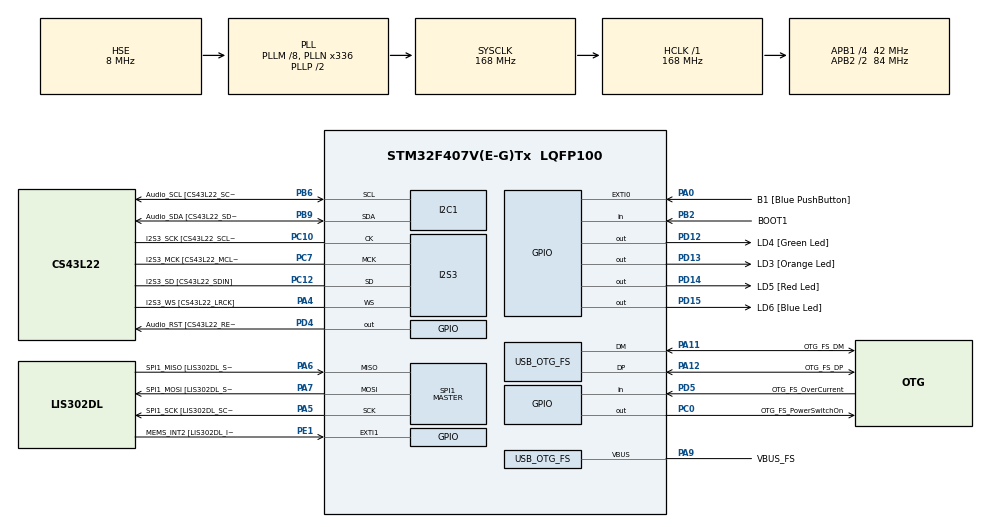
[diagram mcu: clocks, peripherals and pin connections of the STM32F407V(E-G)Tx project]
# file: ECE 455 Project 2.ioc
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FREERTOS.Mutexes01=active_queue_mutex,Dynamic,NULL;completed_queue_mutex,Dynamic,NULL;overdue_queue_mutex,Dynamic,NULL;dds_task_queue_mutex,Dynamic,NULL;make_active_queue_mutex,Dynamic,NULL;make_completed_queue_mutex,Dynamic,NULL;make_overdue_queue_mutex,Dynamic,NULL;task_duration_queue_mutex,Dynamic,NULL;task_1_time_queue_mutex,Dynamic,NULL;task_2_time_queue_mutex,Dynamic,NULL;task_3_time_queue_mutex,Dynamic,NULL
FREERTOS.Queues01=active_queue,16,uint32_t,0,Dynamic,NULL,NULL;completed_queue,16,uint32_t,0,Dynamic,NULL,NULL;dds_task_queue,16,uint32_t,0,Dynamic,NULL,NULL;overdue_queue,16,uint32_t,0,Dynamic,NULL,NULL;make_active_queue,16,uint32_t,0,Dynamic,NULL,NULL;make_completed_queue,16,uint32_t,0,Dynamic,NULL,NULL;make_overdue_queue,16,uint32_t,0,Dynamic,NULL,NULL;task_duration_queue,16,uint32_t,0,Dynamic,NULL,NULL;task_1_time_queue,16,uint32_t,0,Dynamic,NULL,NULL;task_2_time_queue,16,uint32_t,0,Dynamic,NULL,NULL;task_3_time_queue,16,uint32_t,0,Dynamic,NULL,NULL
FREERTOS.Tasks01=defaultTask,-3,128,StartDefaultTask,Default,NULL,Dynamic,NULL,NULL;deadline_driven,0,128,DeadlineDrivenScheduler,Default,NULL,Dynamic,NULL,NULL;task_generator,1,128,TaskGenerator,Default,NULL,Dynamic,NULL,NULL;monitor,0,128,Monitor,Default,NULL,Dynamic,NULL,NULL;red_light_task,2,128,RedLightTask,Default,NULL,Dynamic,NULL,NULL;amber_light_tas,2,128,AmberLightTask,Default,NULL,Dynamic,NULL,NULL;green_light_tas,2,128,GreenLightTask,Default,NULL,Dynamic,NULL,NULL
FREERTOS.Timers01=dds_control_timer,dds_control_callback,osTimerPeriodic,Default,NULL,Dynamic,NULL
FREERTOS.configCHECK_FOR_STACK_OVERFLOW=2
FREERTOS.configTIMER_QUEUE_LENGTH=255
FREERTOS.configTIMER_TASK_PRIORITY=4
FREERTOS.configTOTAL_HEAP_SIZE=65536
FREERTOS.configUSE_TIMERS=1
I2S3.AudioFreq-Half_Duplex_Master=I2S_AUDIOFREQ_96K
I2S3.ErrorAudioFreq=-2.34 %
I2S3.ErrorAudioFreq-Half_Duplex_Master=0.8 %
I2S3.FullDuplexMode=I2S_FULLDUPLEXMODE_DISABLE
I2S3.Instance=SPI$Index
I2S3.RealAudioFreq=93.75 KHz
I2S3.RealAudioFreq-Half_Duplex_Master=96.774 KHz
I2S3.VirtualMode=I2S_MODE_MASTER
Mcu.Family=STM32F4
Mcu.Name=STM32F407V(E-G)Tx
Mcu.Package=LQFP100
NVIC.OTG_FS_IRQn=true\:5\:0\:false\:false\:true\:true\:true\:true\:true
NVIC.PriorityGroup=NVIC_PRIORITYGROUP_4
NVIC.TIM4_IRQn=true\:15\:0\:false\:false\:true\:false\:false\:true\:true
NVIC.TimeBase=TIM4_IRQn
NVIC.TimeBaseIP=TIM4
PA0-WKUP.GPIO_Label=B1 [Blue PushButton]
PA0-WKUP.GPIO_ModeDefaultEXTI=GPIO_MODE_EVT_RISING
PA0-WKUP.GPIO_PuPd=GPIO_NOPULL
PA0-WKUP.Signal=GPXTI0
PA10.GPIO_Label=OTG_FS_ID
PA10.GPIO_Mode=GPIO_MODE_AF_PP
PA10.GPIO_PuPd=GPIO_NOPULL
PA10.GPIO_Speed=GPIO_SPEED_FREQ_LOW
PA10.Signal=USB_OTG_FS_ID
PA11.GPIO_Label=OTG_FS_DM
PA11.GPIO_Mode=GPIO_MODE_AF_PP
PA11.GPIO_PuPd=GPIO_NOPULL
PA11.GPIO_Speed=GPIO_SPEED_FREQ_LOW
PA11.Mode=Host_Only
PA11.Signal=USB_OTG_FS_DM
PA12.GPIO_Label=OTG_FS_DP
PA12.GPIO_Mode=GPIO_MODE_AF_PP
PA12.GPIO_PuPd=GPIO_NOPULL
PA12.GPIO_Speed=GPIO_SPEED_FREQ_LOW
PA12.Mode=Host_Only
PA12.Signal=USB_OTG_FS_DP
PA13.GPIO_Label=SWDIO
PA13.Mode=Serial_Wire
PA13.Signal=SYS_JTMS-SWDIO
PA14.GPIO_Label=SWCLK
PA14.Mode=Serial_Wire
PA14.Signal=SYS_JTCK-SWCLK
PA4.GPIO_Label=I2S3_WS [CS43L22_LRCK]
PA4.GPIO_Mode=GPIO_MODE_AF_PP
PA4.GPIO_PuPd=GPIO_NOPULL
PA4.GPIO_Speed=GPIO_SPEED_FREQ_LOW
PA4.Mode=Half_Duplex_Master
PA4.Signal=I2S3_WS
PA5.GPIO_Label=SPI1_SCK [LIS302DL_SCL/SPC]
PA5.GPIO_Mode=GPIO_MODE_AF_PP
PA5.GPIO_PuPd=GPIO_NOPULL
PA5.GPIO_Speed=GPIO_SPEED_FREQ_LOW
PA5.Mode=Full_Duplex_Master
PA5.Signal=SPI1_SCK
PA6.GPIO_Label=SPI1_MISO [LIS302DL_SDO]
PA6.GPIO_Mode=GPIO_MODE_AF_PP
PA6.GPIO_PuPd=GPIO_NOPULL
PA6.GPIO_Speed=GPIO_SPEED_FREQ_LOW
PA6.Mode=Full_Duplex_Master
PA6.Signal=SPI1_MISO
PA7.GPIO_Label=SPI1_MOSI [LIS302DL_SDA/SDI/SDO]
PA7.GPIO_Mode=GPIO_MODE_AF_PP
PA7.GPIO_PuPd=GPIO_NOPULL
PA7.GPIO_Speed=GPIO_SPEED_FREQ_LOW
PA7.Mode=Full_Duplex_Master
PA7.Signal=SPI1_MOSI
PA9.GPIO_Label=VBUS_FS
PA9.GPIO_Mode=GPIO_MODE_INPUT
PA9.GPIO_PuPd=GPIO_NOPULL
PA9.Mode=Activate_VBUS
PA9.Signal=USB_OTG_FS_VBUS
PB10.GPIO_Label=CLK_IN [MP45DT02_CLK]
PB10.GPIO_Mode=GPIO_MODE_AF_PP
PB10.GPIO_PuPd=GPIO_NOPULL
PB10.GPIO_Speed=GPIO_SPEED_FREQ_LOW
PB10.Signal=I2S2_CK
PB2.GPIO_Label=BOOT1
PB2.GPIO_Mode=GPIO_MODE_INPUT
PB2.GPIO_PuPd=GPIO_NOPULL
PB2.Signal=GPIO_Input
PB3.GPIO_Label=SWO
PB3.Signal=SYS_JTDO-SWO
PB6.GPIO_Label=Audio_SCL [CS43L22_SCL]
PB6.GPIO_Mode=GPIO_MODE_AF_OD
PB6.GPIO_Pu=GPIO_PULLUP
PB6.GPIO_PuPd=GPIO_NOPULL
PB6.GPIO_Speed=GPIO_SPEED_FREQ_LOW
PB6.Mode=I2C
PB6.Signal=I2C1_SCL
PB9.GPIO_Label=Audio_SDA [CS43L22_SDA]
PB9.GPIO_Mode=GPIO_MODE_AF_OD
PB9.GPIO_Pu=GPIO_PULLUP
PB9.GPIO_PuPd=GPIO_NOPULL
PB9.GPIO_Speed=GPIO_SPEED_FREQ_LOW
PB9.Mode=I2C
PB9.Signal=I2C1_SDA
PC0.GPIO_Label=OTG_FS_PowerSwitchOn
PC0.GPIO_PuPd=GPIO_NOPULL
PC0.GPIO_Speed=GPIO_SPEED_FREQ_LOW
PC0.PinState=GPIO_PIN_SET
PC0.Signal=GPIO_Output
PC10.GPIO_Label=I2S3_SCK [CS43L22_SCLK]
PC10.GPIO_Mode=GPIO_MODE_AF_PP
PC10.GPIO_PuPd=GPIO_NOPULL
PC10.GPIO_Speed=GPIO_SPEED_FREQ_LOW
PC10.Mode=Half_Duplex_Master
PC10.Signal=I2S3_CK
PC12.GPIO_Label=I2S3_SD [CS43L22_SDIN]
PC12.GPIO_Mode=GPIO_MODE_AF_PP
PC12.GPIO_PuPd=GPIO_NOPULL
PC12.GPIO_Speed=GPIO_SPEED_FREQ_LOW
PC12.Mode=Half_Duplex_Master
PC12.Signal=I2S3_SD
PC14-OSC32_IN.GPIO_Label=PC14-OSC32_IN
PC14-OSC32_IN.Mode=LSE-External-Oscillator
PC14-OSC32_IN.Signal=RCC_OSC32_IN
PC15-OSC32_OUT.GPIO_Label=PC15-OSC32_OUT
PC15-OSC32_OUT.Mode=LSE-External-Oscillator
PC15-OSC32_OUT.Signal=RCC_OSC32_OUT
PC3.GPIO_Label=PDM_OUT [MP45DT02_DOUT]
PC3.GPIO_Mode=GPIO_MODE_AF_PP
PC3.GPIO_PuPd=GPIO_NOPULL
PC3.GPIO_Speed=GPIO_SPEED_FREQ_LOW
PC3.Signal=I2S2_SD
PC7.GPIO_Label=I2S3_MCK [CS43L22_MCLK]
PC7.GPIO_Mode=GPIO_MODE_AF_PP
PC7.GPIO_PuPd=GPIO_NOPULL
PC7.GPIO_Speed=GPIO_SPEED_FREQ_LOW
PC7.Mode=Master_Clock_Activated
PC7.Signal=I2S3_MCK
PD12.GPIO_Label=LD4 [Green Led]
PD12.GPIO_PuPd=GPIO_NOPULL
PD12.GPIO_Speed=GPIO_SPEED_FREQ_LOW
PD12.Signal=GPIO_Output
PD13.GPIO_Label=LD3 [Orange Led]
PD13.GPIO_PuPd=GPIO_NOPULL
PD13.GPIO_Speed=GPIO_SPEED_FREQ_LOW
PD13.Signal=GPIO_Output
PD14.GPIO_Label=LD5 [Red Led]
PD14.GPIO_PuPd=GPIO_NOPULL
PD14.GPIO_Speed=GPIO_SPEED_FREQ_LOW
PD14.Signal=GPIO_Output
PD15.GPIO_Label=LD6 [Blue Led]
PD15.GPIO_PuPd=GPIO_NOPULL
PD15.GPIO_Speed=GPIO_SPEED_FREQ_LOW
PD15.Signal=GPIO_Output
PD4.GPIO_Label=Audio_RST [CS43L22_RESET]
PD4.GPIO_PuPd=GPIO_NOPULL
PD4.GPIO_Speed=GPIO_SPEED_FREQ_LOW
PD4.Signal=GPIO_Output
PD5.GPIO_Label=OTG_FS_OverCurrent
PD5.GPIO_Mode=GPIO_MODE_INPUT
PD5.GPIO_PuPd=GPIO_NOPULL
PD5.Signal=GPIO_Input
PE1.GPIO_Label=MEMS_INT2 [LIS302DL_INT2]
PE1.GPIO_ModeDefaultEXTI=GPIO_MODE_EVT_RISING
PE1.GPIO_PuPd=GPIO_NOPULL
PE1.Signal=GPXTI1
PH0-OSC_IN.GPIO_Label=PH0-OSC_IN
PH0-OSC_IN.Mode=HSE-External-Oscillator
PH0-OSC_IN.Signal=RCC_OSC_IN
PH1-OSC_OUT.GPIO_Label=PH1-OSC_OUT
PH1-OSC_OUT.Mode=HSE-External-Oscillator
PH1-OSC_OUT.Signal=RCC_OSC_OUT
ProjectManager.HeapSize=0x200
ProjectManager.StackSize=0x400
ProjectManager.TargetToolchain=STM32CubeIDE
RCC.48MHZClocksFreq_Value=48000000
RCC.AHBFreq_Value=168000000
RCC.APB1CLKDivider=RCC_HCLK_DIV4
RCC.APB1Freq_Value=42000000
RCC.APB1TimFreq_Value=84000000
RCC.APB2CLKDivider=RCC_HCLK_DIV2
RCC.APB2Freq_Value=84000000
RCC.APB2TimFreq_Value=168000000
RCC.CortexFreq_Value=168000000
RCC.HCLKFreq_Value=168000000
RCC.HSE_VALUE=8000000
RCC.HSI_VALUE=16000000
RCC.PLLM=8
RCC.PLLN=336
RCC.PLLQ=7
RCC.SYSCLKFreq_VALUE=168000000
RCC.SYSCLKSource=RCC_SYSCLKSOURCE_PLLCLK
RCC.VCOOutputFreq_Value=336000000
SPI1.BaudRatePrescaler-Full_Duplex_Master=SPI_BAUDRATEPRESCALER_2
SPI1.CalculateBaudRate-Full_Duplex_Master=42.0 MBits/s
SPI1.Direction=SPI_DIRECTION_2LINES
SPI1.Mode=SPI_MODE_MASTER
SPI1.Mode-Full_Duplex_Master=SPI_MODE_MASTER
SPI1.VirtualType=VM_MASTER
USB_OTG_FS.VirtualMode=Host_Only
USB_OTG_FS.phy_itface=HCD_PHY_EMBEDDED
VP_FREERTOS_VS_CMSIS_V1.Mode=CMSIS_V1
VP_SYS_VS_tim4.Mode=TIM4
board=STM32F407G-DISC1

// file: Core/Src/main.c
/* USER CODE BEGIN Header */
/**
  ******************************************************************************
  * @file           : main.c
  * @brief          : Main program body
  ******************************************************************************
  * @attention
  *
  * Copyright (c) 2024 STMicroelectronics.
  * All rights reserved.
  *
  * This software is licensed under terms that can be found in the LICENSE file
  * in the root directory of this software component.
  * If no LICENSE file comes with this software, it is provided AS-IS.
  *
  ******************************************************************************
  */
/* USER CODE END Header */
#include "main.h"
#include "cmsis_os.h"

/* USER CODE BEGIN Includes */
#include <stdio.h>
#include <stdlib.h>
/* USER CODE END Includes */

I2C_HandleTypeDef hi2c1;

I2S_HandleTypeDef hi2s3;

SPI_HandleTypeDef hspi1;

HCD_HandleTypeDef hhcd_USB_OTG_FS;

osThreadId defaultTaskHandle;
osThreadId deadline_drivenHandle;
osThreadId task_generatorHandle;
osThreadId monitorHandle;
osThreadId red_light_taskHandle;
osThreadId amber_light_tasHandle;
osThreadId green_light_tasHandle;
osMessageQId active_queueHandle;
osMessageQId completed_queueHandle;
osMessageQId dds_task_queueHandle;
osMessageQId overdue_queueHandle;
osMessageQId make_active_queueHandle;
osMessageQId make_completed_queueHandle;
osMessageQId make_overdue_queueHandle;
osMessageQId task_duration_queueHandle;
osMessageQId task_1_time_queueHandle;
osMessageQId task_2_time_queueHandle;
osMessageQId task_3_time_queueHandle;
osTimerId dds_control_timerHandle;
osMutexId active_queue_mutexHandle;
osMutexId completed_queue_mutexHandle;
osMutexId overdue_queue_mutexHandle;
osMutexId dds_task_queue_mutexHandle;
osMutexId make_active_queue_mutexHandle;
osMutexId make_completed_queue_mutexHandle;
osMutexId make_overdue_queue_mutexHandle;
osMutexId task_duration_queue_mutexHandle;
osMutexId task_1_time_queue_mutexHandle;
osMutexId task_2_time_queue_mutexHandle;
osMutexId task_3_time_queue_mutexHandle;
/* USER CODE BEGIN PV */
osTimerId task_1_timerHandle;
osTimerId task_2_timerHandle;
osTimerId task_3_timerHandle;
/* USER CODE END PV */

void SystemClock_Config(void);
static void MX_GPIO_Init(void);
static void MX_I2C1_Init(void);
static void MX_I2S3_Init(void);
static void MX_SPI1_Init(void);
static void MX_USB_OTG_FS_HCD_Init(void);
void StartDefaultTask(void const * argument);
void DeadlineDrivenScheduler(void const * argument);
void TaskGenerator(void const * argument);
void Monitor(void const * argument);
void RedLightTask(void const * argument);
void AmberLightTask(void const * argument);
void GreenLightTask(void const * argument);
void dds_control_callback(void const * argument);

/* USER CODE BEGIN PFP */
void task_1_timer_callback(void const * argument);
void task_2_timer_callback(void const * argument);
void task_3_timer_callback(void const * argument);
/* USER CODE END PFP */

/* USER CODE BEGIN 0 */
typedef enum task_type {PERIODIC, APERIODIC} TASK_TYPE;

typedef struct dd_task {
     osThreadId t_handle;
     TASK_TYPE type;
     uint32_t task_id;
     uint32_t release_time;
     uint32_t absolute_deadline;
     uint32_t completion_time;
     uint32_t execution_time;
} DD_TASK;

typedef struct dd_task_list {
    DD_TASK task;
    struct dd_task_list* next;
} DD_TASK_LIST;

typedef struct time_struct{
	uint32_t period;
	uint32_t execution_time;
}time_struct;
/* USER CODE END 0 */

int main(void)
{

  /* MCU Configuration--------------------------------------------------------*/

  /* Reset of all peripherals, Initializes the Flash interface and the Systick. */
  HAL_Init();

  /* Configure the system clock */
  SystemClock_Config();

  /* Initialize all configured peripherals */
  MX_GPIO_Init();
  MX_I2C1_Init();
  MX_I2S3_Init();
  MX_SPI1_Init();
  MX_USB_OTG_FS_HCD_Init();

  /* Create the mutex(es) */
  /* definition and creation of active_queue_mutex */
  osMutexDef(active_queue_mutex);
  active_queue_mutexHandle = osMutexCreate(osMutex(active_queue_mutex));

  /* definition and creation of completed_queue_mutex */
  osMutexDef(completed_queue_mutex);
  completed_queue_mutexHandle = osMutexCreate(osMutex(completed_queue_mutex));

  /* definition and creation of overdue_queue_mutex */
  osMutexDef(overdue_queue_mutex);
  overdue_queue_mutexHandle = osMutexCreate(osMutex(overdue_queue_mutex));

  /* definition and creation of dds_task_queue_mutex */
  osMutexDef(dds_task_queue_mutex);
  dds_task_queue_mutexHandle = osMutexCreate(osMutex(dds_task_queue_mutex));

  /* definition and creation of make_active_queue_mutex */
  osMutexDef(make_active_queue_mutex);
  make_active_queue_mutexHandle = osMutexCreate(osMutex(make_active_queue_mutex));

  /* definition and creation of make_completed_queue_mutex */
  osMutexDef(make_completed_queue_mutex);
  make_completed_queue_mutexHandle = osMutexCreate(osMutex(make_completed_queue_mutex));

  /* definition and creation of make_overdue_queue_mutex */
  osMutexDef(make_overdue_queue_mutex);
  make_overdue_queue_mutexHandle = osMutexCreate(osMutex(make_overdue_queue_mutex));

  /* definition and creation of task_duration_queue_mutex */
  osMutexDef(task_duration_queue_mutex);
  task_duration_queue_mutexHandle = osMutexCreate(osMutex(task_duration_queue_mutex));

  /* definition and creation of task_1_time_queue_mutex */
  osMutexDef(task_1_time_queue_mutex);
  task_1_time_queue_mutexHandle = osMutexCreate(osMutex(task_1_time_queue_mutex));

  /* definition and creation of task_2_time_queue_mutex */
  osMutexDef(task_2_time_queue_mutex);
  task_2_time_queue_mutexHandle = osMutexCreate(osMutex(task_2_time_queue_mutex));

  /* definition and creation of task_3_time_queue_mutex */
  osMutexDef(task_3_time_queue_mutex);
  task_3_time_queue_mutexHandle = osMutexCreate(osMutex(task_3_time_queue_mutex));

  /* Create the timer(s) */
  /* definition and creation of dds_control_timer */
  osTimerDef(dds_control_timer, dds_control_callback);
  dds_control_timerHandle = osTimerCreate(osTimer(dds_control_timer), osTimerPeriodic, NULL);

  /* Create the queue(s) */
  /* definition and creation of active_queue */
  osMessageQDef(active_queue, 16, uint32_t);
  active_queueHandle = osMessageCreate(osMessageQ(active_queue), NULL);

  /* definition and creation of completed_queue */
  osMessageQDef(completed_queue, 16, uint32_t);
  completed_queueHandle = osMessageCreate(osMessageQ(completed_queue), NULL);

  /* definition and creation of dds_task_queue */
  osMessageQDef(dds_task_queue, 16, uint32_t);
  dds_task_queueHandle = osMessageCreate(osMessageQ(dds_task_queue), NULL);

  /* definition and creation of overdue_queue */
  osMessageQDef(overdue_queue, 16, uint32_t);
  overdue_queueHandle = osMessageCreate(osMessageQ(overdue_queue), NULL);

  /* definition and creation of make_active_queue */
  osMessageQDef(make_active_queue, 16, uint32_t);
  make_active_queueHandle = osMessageCreate(osMessageQ(make_active_queue), NULL);

  /* definition and creation of make_completed_queue */
  osMessageQDef(make_completed_queue, 16, uint32_t);
  make_completed_queueHandle = osMessageCreate(osMessageQ(make_completed_queue), NULL);

  /* definition and creation of make_overdue_queue */
  osMessageQDef(make_overdue_queue, 16, uint32_t);
  make_overdue_queueHandle = osMessageCreate(osMessageQ(make_overdue_queue), NULL);

  /* definition and creation of task_duration_queue */
  osMessageQDef(task_duration_queue, 16, uint32_t);
  task_duration_queueHandle = osMessageCreate(osMessageQ(task_duration_queue), NULL);

  /* definition and creation of task_1_time_queue */
  osMessageQDef(task_1_time_queue, 16, uint32_t);
  task_1_time_queueHandle = osMessageCreate(osMessageQ(task_1_time_queue), NULL);

  /* definition and creation of task_2_time_queue */
  osMessageQDef(task_2_time_queue, 16, uint32_t);
  task_2_time_queueHandle = osMessageCreate(osMessageQ(task_2_time_queue), NULL);

  /* definition and creation of task_3_time_queue */
  osMessageQDef(task_3_time_queue, 16, uint32_t);
  task_3_time_queueHandle = osMessageCreate(osMessageQ(task_3_time_queue), NULL);

  /* Create the thread(s) */
  /* definition and creation of defaultTask */
  osThreadDef(defaultTask, StartDefaultTask, osPriorityIdle, 0, 128);
  defaultTaskHandle = osThreadCreate(osThread(defaultTask), NULL);

  /* definition and creation of deadline_driven */
  osThreadDef(deadline_driven, DeadlineDrivenScheduler, osPriorityNormal, 0, 128);
  deadline_drivenHandle = osThreadCreate(osThread(deadline_driven), NULL);

  /* definition and creation of task_generator */
  osThreadDef(task_generator, TaskGenerator, osPriorityAboveNormal, 0, 128);
  task_generatorHandle = osThreadCreate(osThread(task_generator), NULL);

  /* definition and creation of monitor */
  osThreadDef(monitor, Monitor, osPriorityNormal, 0, 128);
  monitorHandle = osThreadCreate(osThread(monitor), NULL);

  /* definition and creation of red_light_task */
  osThreadDef(red_light_task, RedLightTask, osPriorityHigh, 0, 128);
  red_light_taskHandle = osThreadCreate(osThread(red_light_task), NULL);

  /* definition and creation of amber_light_tas */
  osThreadDef(amber_light_tas, AmberLightTask, osPriorityHigh, 0, 128);
  amber_light_tasHandle = osThreadCreate(osThread(amber_light_tas), NULL);

  /* definition and creation of green_light_tas */
  osThreadDef(green_light_tas, GreenLightTask, osPriorityHigh, 0, 128);
  green_light_tasHandle = osThreadCreate(osThread(green_light_tas), NULL);

  /* USER CODE BEGIN RTOS_THREADS */
  /* add threads, ... */
  // We don't actually want the light tasks to run immediately, so end the threads.
  //osThreadTerminate(red_light_taskHandle);
  //osThreadTerminate(amber_light_tasHandle);
  //osThreadTerminate(green_light_tasHandle);

  /* USER CODE END RTOS_THREADS */

  /* Start scheduler */
  osKernelStart();

  /* We should never get here as control is now taken by the scheduler */
  /* Infinite loop */
  while (1)
  {

  }
}

void SystemClock_Config(void)
{
  RCC_OscInitTypeDef RCC_OscInitStruct = {0};
  RCC_ClkInitTypeDef RCC_ClkInitStruct = {0};

  /** Configure the main internal regulator output voltage
  */
  __HAL_RCC_PWR_CLK_ENABLE();
  __HAL_PWR_VOLTAGESCALING_CONFIG(PWR_REGULATOR_VOLTAGE_SCALE1);

  /** Initializes the RCC Oscillators according to the specified parameters
  * in the RCC_OscInitTypeDef structure.
  */
  RCC_OscInitStruct.OscillatorType = RCC_OSCILLATORTYPE_HSE;
  RCC_OscInitStruct.HSEState = RCC_HSE_ON;
  RCC_OscInitStruct.PLL.PLLState = RCC_PLL_ON;
  RCC_OscInitStruct.PLL.PLLSource = RCC_PLLSOURCE_HSE;
  RCC_OscInitStruct.PLL.PLLM = 8;
  RCC_OscInitStruct.PLL.PLLN = 336;
  RCC_OscInitStruct.PLL.PLLP = RCC_PLLP_DIV2;
  RCC_OscInitStruct.PLL.PLLQ = 7;
  if (HAL_RCC_OscConfig(&RCC_OscInitStruct) != HAL_OK)
  {
    Error_Handler();
  }

  /** Initializes the CPU, AHB and APB buses clocks
  */
  RCC_ClkInitStruct.ClockType = RCC_CLOCKTYPE_HCLK|RCC_CLOCKTYPE_SYSCLK
                              |RCC_CLOCKTYPE_PCLK1|RCC_CLOCKTYPE_PCLK2;
  RCC_ClkInitStruct.SYSCLKSource = RCC_SYSCLKSOURCE_PLLCLK;
  RCC_ClkInitStruct.AHBCLKDivider = RCC_SYSCLK_DIV1;
  RCC_ClkInitStruct.APB1CLKDivider = RCC_HCLK_DIV4;
  RCC_ClkInitStruct.APB2CLKDivider = RCC_HCLK_DIV2;

  if (HAL_RCC_ClockConfig(&RCC_ClkInitStruct, FLASH_LATENCY_5) != HAL_OK)
  {
    Error_Handler();
  }
}

static void MX_I2C1_Init(void)
{

  hi2c1.Instance = I2C1;
  hi2c1.Init.ClockSpeed = 100000;
  hi2c1.Init.DutyCycle = I2C_DUTYCYCLE_2;
  hi2c1.Init.OwnAddress1 = 0;
  hi2c1.Init.AddressingMode = I2C_ADDRESSINGMODE_7BIT;
  hi2c1.Init.DualAddressMode = I2C_DUALADDRESS_DISABLE;
  hi2c1.Init.OwnAddress2 = 0;
  hi2c1.Init.GeneralCallMode = I2C_GENERALCALL_DISABLE;
  hi2c1.Init.NoStretchMode = I2C_NOSTRETCH_DISABLE;
  if (HAL_I2C_Init(&hi2c1) != HAL_OK)
  {
    Error_Handler();
  }

}

static void MX_I2S3_Init(void)
{

  hi2s3.Instance = SPI3;
  hi2s3.Init.Mode = I2S_MODE_MASTER_TX;
  hi2s3.Init.Standard = I2S_STANDARD_PHILIPS;
  hi2s3.Init.DataFormat = I2S_DATAFORMAT_16B;
  hi2s3.Init.MCLKOutput = I2S_MCLKOUTPUT_ENABLE;
  hi2s3.Init.AudioFreq = I2S_AUDIOFREQ_96K;
  hi2s3.Init.CPOL = I2S_CPOL_LOW;
  hi2s3.Init.ClockSource = I2S_CLOCK_PLL;
  hi2s3.Init.FullDuplexMode = I2S_FULLDUPLEXMODE_DISABLE;
  if (HAL_I2S_Init(&hi2s3) != HAL_OK)
  {
    Error_Handler();
  }

}

static void MX_SPI1_Init(void)
{

  /* SPI1 parameter configuration*/
  hspi1.Instance = SPI1;
  hspi1.Init.Mode = SPI_MODE_MASTER;
  hspi1.Init.Direction = SPI_DIRECTION_2LINES;
  hspi1.Init.DataSize = SPI_DATASIZE_8BIT;
  hspi1.Init.CLKPolarity = SPI_POLARITY_LOW;
  hspi1.Init.CLKPhase = SPI_PHASE_1EDGE;
  hspi1.Init.NSS = SPI_NSS_SOFT;
  hspi1.Init.BaudRatePrescaler = SPI_BAUDRATEPRESCALER_2;
  hspi1.Init.FirstBit = SPI_FIRSTBIT_MSB;
  hspi1.Init.TIMode = SPI_TIMODE_DISABLE;
  hspi1.Init.CRCCalculation = SPI_CRCCALCULATION_DISABLE;
  hspi1.Init.CRCPolynomial = 10;
  if (HAL_SPI_Init(&hspi1) != HAL_OK)
  {
    Error_Handler();
  }

}

static void MX_USB_OTG_FS_HCD_Init(void)
{

  hhcd_USB_OTG_FS.Instance = USB_OTG_FS;
  hhcd_USB_OTG_FS.Init.Host_channels = 8;
  hhcd_USB_OTG_FS.Init.speed = HCD_SPEED_FULL;
  hhcd_USB_OTG_FS.Init.dma_enable = DISABLE;
  hhcd_USB_OTG_FS.Init.phy_itface = HCD_PHY_EMBEDDED;
  hhcd_USB_OTG_FS.Init.Sof_enable = DISABLE;
  if (HAL_HCD_Init(&hhcd_USB_OTG_FS) != HAL_OK)
  {
    Error_Handler();
  }

}

static void MX_GPIO_Init(void)
{
  GPIO_InitTypeDef GPIO_InitStruct = {0};

  /* GPIO Ports Clock Enable */
  __HAL_RCC_GPIOC_CLK_ENABLE();
  __HAL_RCC_GPIOH_CLK_ENABLE();
  __HAL_RCC_GPIOA_CLK_ENABLE();
  __HAL_RCC_GPIOB_CLK_ENABLE();
  __HAL_RCC_GPIOD_CLK_ENABLE();
  __HAL_RCC_GPIOE_CLK_ENABLE();

  /*Configure GPIO pin Output Level */
  HAL_GPIO_WritePin(OTG_FS_PowerSwitchOn_GPIO_Port, OTG_FS_PowerSwitchOn_Pin, GPIO_PIN_SET);

  /*Configure GPIO pin Output Level */
  HAL_GPIO_WritePin(GPIOD, LD4_Pin|LD3_Pin|LD5_Pin|LD6_Pin
                          |Audio_RST_Pin, GPIO_PIN_RESET);

  /*Configure GPIO pin : OTG_FS_PowerSwitchOn_Pin */
  GPIO_InitStruct.Pin = OTG_FS_PowerSwitchOn_Pin;
  GPIO_InitStruct.Mode = GPIO_MODE_OUTPUT_PP;
  GPIO_InitStruct.Pull = GPIO_NOPULL;
  GPIO_InitStruct.Speed = GPIO_SPEED_FREQ_LOW;
  HAL_GPIO_Init(OTG_FS_PowerSwitchOn_GPIO_Port, &GPIO_InitStruct);

  /*Configure GPIO pin : PDM_OUT_Pin */
  GPIO_InitStruct.Pin = PDM_OUT_Pin;
  GPIO_InitStruct.Mode = GPIO_MODE_AF_PP;
  GPIO_InitStruct.Pull = GPIO_NOPULL;
  GPIO_InitStruct.Speed = GPIO_SPEED_FREQ_LOW;
  GPIO_InitStruct.Alternate = GPIO_AF5_SPI2;
  HAL_GPIO_Init(PDM_OUT_GPIO_Port, &GPIO_InitStruct);

  /*Configure GPIO pin : B1_Pin */
  GPIO_InitStruct.Pin = B1_Pin;
  GPIO_InitStruct.Mode = GPIO_MODE_EVT_RISING;
  GPIO_InitStruct.Pull = GPIO_NOPULL;
  HAL_GPIO_Init(B1_GPIO_Port, &GPIO_InitStruct);

  /*Configure GPIO pin : BOOT1_Pin */
  GPIO_InitStruct.Pin = BOOT1_Pin;
  GPIO_InitStruct.Mode = GPIO_MODE_INPUT;
  GPIO_InitStruct.Pull = GPIO_NOPULL;
  HAL_GPIO_Init(BOOT1_GPIO_Port, &GPIO_InitStruct);

  /*Configure GPIO pin : CLK_IN_Pin */
  GPIO_InitStruct.Pin = CLK_IN_Pin;
  GPIO_InitStruct.Mode = GPIO_MODE_AF_PP;
  GPIO_InitStruct.Pull = GPIO_NOPULL;
  GPIO_InitStruct.Speed = GPIO_SPEED_FREQ_LOW;
  GPIO_InitStruct.Alternate = GPIO_AF5_SPI2;
  HAL_GPIO_Init(CLK_IN_GPIO_Port, &GPIO_InitStruct);

  /*Configure GPIO pins : LD4_Pin LD3_Pin LD5_Pin LD6_Pin
                           Audio_RST_Pin */
  GPIO_InitStruct.Pin = LD4_Pin|LD3_Pin|LD5_Pin|LD6_Pin
                          |Audio_RST_Pin;
  GPIO_InitStruct.Mode = GPIO_MODE_OUTPUT_PP;
  GPIO_InitStruct.Pull = GPIO_NOPULL;
  GPIO_InitStruct.Speed = GPIO_SPEED_FREQ_LOW;
  HAL_GPIO_Init(GPIOD, &GPIO_InitStruct);

  /*Configure GPIO pin : OTG_FS_OverCurrent_Pin */
  GPIO_InitStruct.Pin = OTG_FS_OverCurrent_Pin;
  GPIO_InitStruct.Mode = GPIO_MODE_INPUT;
  GPIO_InitStruct.Pull = GPIO_NOPULL;
  HAL_GPIO_Init(OTG_FS_OverCurrent_GPIO_Port, &GPIO_InitStruct);

  /*Configure GPIO pin : MEMS_INT2_Pin */
  GPIO_InitStruct.Pin = MEMS_INT2_Pin;
  GPIO_InitStruct.Mode = GPIO_MODE_EVT_RISING;
  GPIO_InitStruct.Pull = GPIO_NOPULL;
  HAL_GPIO_Init(MEMS_INT2_GPIO_Port, &GPIO_InitStruct);

}

/* USER CODE BEGIN 4 */

DD_TASK_LIST* get_active_dd_task_list(){
	osMutexWait(dds_task_queue_mutexHandle, osWaitForever);
	osMessagePut(dds_task_queueHandle, 0, osWaitForever);
	osMutexRelease(dds_task_queue_mutexHandle);

	osThreadSetPriority(deadline_drivenHandle, osPriorityRealtime);
	osThreadYield();

	osMutexWait(active_queue_mutexHandle, osWaitForever);
	osEvent event = osMessageGet(active_queueHandle, 0);
	osMutexRelease(active_queue_mutexHandle);
	while(event.status != osEventMessage){
		osMutexWait(active_queue_mutexHandle, osWaitForever);
		event = osMessageGet(active_queueHandle, 0);
		osMutexRelease(active_queue_mutexHandle);
	}

	//TODO: this might be a hack, fix if it causes problems
	DD_TASK_LIST* active = (DD_TASK_LIST*)event.value.v;
	return active;
}

DD_TASK_LIST* get_completed_dd_task_list(){
	osMutexWait(dds_task_queue_mutexHandle, osWaitForever);
	osMessagePut(dds_task_queueHandle, 1, osWaitForever);
	osMutexRelease(dds_task_queue_mutexHandle);

	osThreadSetPriority(deadline_drivenHandle, osPriorityRealtime);
	osThreadYield();

	osMutexWait(completed_queue_mutexHandle, osWaitForever);
	osEvent event = osMessageGet(completed_queueHandle, 0);
	osMutexRelease(completed_queue_mutexHandle);
	while(event.status != osEventMessage){
		osMutexWait(completed_queue_mutexHandle, osWaitForever);
		event = osMessageGet(completed_queueHandle, 0);
		osMutexRelease(completed_queue_mutexHandle);
	}

	//TODO: this might be a hack, fix if it causes problems
	DD_TASK_LIST* completed = (DD_TASK_LIST*)event.value.v;
	return completed;
}

DD_TASK_LIST* get_overdue_dd_task_list(){
	osMutexWait(dds_task_queue_mutexHandle, osWaitForever);
	osMessagePut(dds_task_queueHandle, 2, osWaitForever);
	osMutexRelease(dds_task_queue_mutexHandle);

	osThreadSetPriority(deadline_drivenHandle, osPriorityRealtime);
	osThreadYield();

	osMutexWait(overdue_queue_mutexHandle, osWaitForever);
	osEvent event = osMessageGet(overdue_queueHandle, 0);
	osMutexRelease(overdue_queue_mutexHandle);
	while(event.status != osEventMessage){
		osMutexWait(overdue_queue_mutexHandle, osWaitForever);
		event = osMessageGet(overdue_queueHandle, 0);
		osMutexRelease(overdue_queue_mutexHandle);
		osThreadYield();
	}

	//TODO: this might be a hack, fix if it causes problems
	DD_TASK_LIST* overdue = (DD_TASK_LIST*)event.value.v;
	return overdue;
}

void release_dd_task(osThreadId t_handle, TASK_TYPE type, uint32_t task_id,uint32_t absolute_deadline, uint32_t execution_time){
	// malloc here
	uint32_t clock_time = osKernelSysTick();
	DD_TASK_LIST* task = (DD_TASK_LIST*) malloc(sizeof(DD_TASK_LIST));
	task->task.t_handle = t_handle;
	task->task.type = type;
	task->task.task_id = task_id;
	task->task.release_time = 0;
	task->task.absolute_deadline = absolute_deadline;
	task->task.completion_time = 0;
	task->task.execution_time = execution_time;
	task->next = NULL;

	//vTaskPrioritySet(t_handle, osPriorityLow);

	osMutexWait(dds_task_queue_mutexHandle, osWaitForever);
	osMutexWait(make_active_queue_mutexHandle, osWaitForever);
	osMessagePut(dds_task_queueHandle, 3, osWaitForever);
	uint32_t pointer = (uint32_t) task;
	osMessagePut(make_active_queueHandle, pointer, osWaitForever);
	osMutexRelease(make_active_queue_mutexHandle);
	osMutexRelease(dds_task_queue_mutexHandle);
}

void complete_dd_task(osThreadId task_handle){
	DD_TASK_LIST* searching_task = get_active_dd_task_list();
	DD_TASK_LIST* found_task = NULL;
	DD_TASK_LIST* overdue_tasks = NULL;
	uint32_t clock_time = osKernelSysTick(); // 1kHz
	while (searching_task != NULL){
		if (searching_task->task.absolute_deadline < clock_time){
			if (overdue_tasks == NULL){
				overdue_tasks = searching_task;
				searching_task = searching_task->next;
				overdue_tasks->next = NULL;
			}
			else {
				DD_TASK_LIST* overdue_last_task = overdue_tasks;
				while(overdue_last_task->next != NULL){
					continue;
				}
				overdue_last_task = searching_task;
				searching_task = searching_task->next;
				overdue_tasks->next = NULL;
			}
		}
		else {
			if (searching_task->task.t_handle == task_handle && found_task == NULL){
				found_task = searching_task;
			}
			searching_task = searching_task->next;
		}
	}

	osMutexWait(dds_task_queue_mutexHandle, osWaitForever);
	osMutexWait(make_completed_queue_mutexHandle, osWaitForever);
	osMutexWait(make_overdue_queue_mutexHandle, osWaitForever);
	osMessagePut(dds_task_queueHandle, 3, osWaitForever);
	osMessagePut(make_completed_queueHandle, (int)found_task, osWaitForever);
	osMessagePut(make_overdue_queueHandle, (int)overdue_tasks, osWaitForever);
	osMutexRelease(make_overdue_queue_mutexHandle);
	osMutexRelease(make_completed_queue_mutexHandle);
	osMutexRelease(dds_task_queue_mutexHandle);
}
/* USER CODE END 4 */

void StartDefaultTask(void const * argument)
{
  /* USER CODE BEGIN 5 */
  // die
  /* USER CODE END 5 */
}

void DeadlineDrivenScheduler(void const * argument)
{
  /* USER CODE BEGIN DeadlineDrivenScheduler */
	int running = 0;
	osEvent event;
	DD_TASK_LIST* active_tasks = NULL;
	DD_TASK_LIST* completed_tasks = NULL;
	DD_TASK_LIST* overdue_tasks = NULL;
	DD_TASK_LIST* counter;
	DD_TASK_LIST* new_task;
	/* Infinite loop */
	for(;;)
	{
	  // Release DD Task
		osMutexWait(make_active_queue_mutexHandle, osWaitForever);
		event = osMessageGet(make_active_queueHandle, 0);
		osMutexRelease(make_active_queue_mutexHandle);

		if(event.status == osEventMessage){
			if (active_tasks == NULL){
				active_tasks = (DD_TASK_LIST*) event.value.v;
			}
			else if (active_tasks->next == NULL){
				new_task = (DD_TASK_LIST*) event.value.v;
				active_tasks->next = new_task;
				new_task->next = NULL;
			}
			else {
				new_task = (DD_TASK_LIST*) event.value.v;
				counter = active_tasks;
				while(counter->next != NULL && counter->task.absolute_deadline <= new_task->task.absolute_deadline){
					counter = counter->next;
				}
				new_task->next = counter->next;
				counter->next = new_task;
			}
			if (running == 0){
				running = 1;
				osMutexWait(task_duration_queue_mutexHandle, osWaitForever);
				osMessagePut(task_duration_queueHandle, active_tasks->task.execution_time, osWaitForever);
				osMutexRelease(task_duration_queue_mutexHandle);
				// set task priority to high
				osThreadSetPriority(active_tasks->task.t_handle, osPriorityNormal);
			}
		}
	  // Complete DD Task
		osMutexWait(make_completed_queue_mutexHandle, osWaitForever);
		event = osMessageGet(make_completed_queueHandle, 0);
		osMutexRelease(make_completed_queue_mutexHandle);

		if(event.status == osEventMessage){
			if (event.value.v != 0){
				if (completed_tasks == NULL){
					completed_tasks = (DD_TASK_LIST*) event.value.v;
				}
				else {
					new_task = (DD_TASK_LIST*) event.value.v;
					counter = completed_tasks;
					while(counter->next != NULL){
						counter = counter->next;
					}
					counter->next = new_task;
				}
			}

//			DD_TASK_LIST* check_task = active_tasks;
			DD_TASK_LIST* prev = NULL;
//			while (check_task != (DD_TASK_LIST*)event.value.v && check_task != NULL){
//				prev = check_task;
//				check_task = check_task->next;
//			}
//			if (check_task != NULL){
//				prev->next = check_task->next;
//				check_task->next = NULL;
//			}
			prev = active_tasks;
			active_tasks = active_tasks->next;
			prev->next = NULL;

			osMutexWait(task_duration_queue_mutexHandle, osWaitForever);
			osMessagePut(task_duration_queueHandle, new_task->task.execution_time, osWaitForever);
			osMutexRelease(task_duration_queue_mutexHandle);
			// set task priority to high
			if(active_tasks->task.t_handle != NULL && active_tasks != NULL){
				osThreadSetPriority(active_tasks->task.t_handle, osPriorityNormal);
			}
			else {
				running = 0;
			}
			// put overdue tasks away

			osMutexWait(make_overdue_queue_mutexHandle, osWaitForever);
			event = osMessageGet(make_overdue_queueHandle, 0);
			osMutexRelease(make_overdue_queue_mutexHandle);

			if (event.status == osEventMessage){
				if (overdue_tasks == NULL){
					overdue_tasks = (DD_TASK_LIST*) event.value.v;
				}
				else {
					new_task = (DD_TASK_LIST*) event.value.v;
					counter = overdue_tasks;
					while(counter->next != NULL){
						counter = counter->next;
					}
					counter->next = new_task;
				}
			}
		}
	  // Get Lists
		osMutexWait(dds_task_queue_mutexHandle, osWaitForever);
		event = osMessageGet(dds_task_queueHandle, 0);
		osMutexRelease(dds_task_queue_mutexHandle);

		if(event.status == osEventMessage){
			if (event.value.v == 0){
				osMutexWait(active_queue_mutexHandle, osWaitForever);
				osMessagePut(active_queueHandle, (int)active_tasks, osWaitForever);
				osMutexRelease(active_queue_mutexHandle);
			}
			else if (event.value.v == 1){
				osMutexWait(completed_queue_mutexHandle, osWaitForever);
				osMessagePut(completed_queueHandle, (int)completed_tasks, osWaitForever);
				osMutexRelease(completed_queue_mutexHandle);
			}
			else if (event.value.v == 2){
				osMutexWait(overdue_queue_mutexHandle, osWaitForever);
				osMessagePut(overdue_queueHandle, (int)overdue_tasks, osWaitForever);
				osMutexRelease(overdue_queue_mutexHandle);
			}
			osThreadSetPriority(deadline_drivenHandle, osPriorityNormal);
		}
		osThreadYield();
  	}
  /* USER CODE END DeadlineDrivenScheduler */
}

void TaskGenerator(void const * argument)
{
  /* USER CODE BEGIN TaskGenerator */
	uint8_t active_testbench = 0;  // 0-indexed
	uint32_t testbenches[3][3][2] = {
			{{ 95,500}, {150,500}, {250,750}},
			{{ 95,250}, {150,500}, {250,750}},
			{{100,500}, {200,500}, {200,500}}
	};

	uint32_t task_1_execution_time = 	testbenches[active_testbench][0][0];
	uint32_t task_1_period = 			testbenches[active_testbench][0][1];
	uint32_t task_2_execution_time = 	testbenches[active_testbench][1][0];
	uint32_t task_2_period = 			testbenches[active_testbench][1][1];
	uint32_t task_3_execution_time = 	testbenches[active_testbench][2][0];
	uint32_t task_3_period = 			testbenches[active_testbench][2][1];

	/* definition and creation of task_1_timer */
	osTimerDef(task_1_timer, task_1_timer_callback);
	time_struct* task_1_time = (time_struct*) malloc(sizeof(time_struct));
	task_1_time -> period = task_1_period;
	task_1_time -> execution_time = task_1_execution_time;
	osMutexWait(task_1_time_queue_mutexHandle, osWaitForever);
	osMessagePut(task_1_time_queueHandle, (int)task_1_time, osWaitForever);
	osMutexRelease(task_1_time_queue_mutexHandle);
	task_1_timerHandle = osTimerCreate(osTimer(task_1_timer), osTimerPeriodic, (void*)task_1_time);
	task_1_timer_callback(NULL);

	/* definition and creation of task_2_timer */
	osTimerDef(task_2_timer, task_2_timer_callback);
	time_struct* task_2_time = (time_struct*) malloc(sizeof(time_struct));
	task_2_time -> period = task_2_period;
	task_2_time -> execution_time = task_2_execution_time;
	osMutexWait(task_2_time_queue_mutexHandle, osWaitForever);
	osMessagePut(task_2_time_queueHandle, (int)task_2_time, osWaitForever);
	osMutexRelease(task_2_time_queue_mutexHandle);
	task_2_timerHandle = osTimerCreate(osTimer(task_2_timer), osTimerPeriodic, (void*)task_2_time);
	task_2_timer_callback(NULL);

	/* definition and creation of task_3_timer */
	osTimerDef(task_3_timer, task_3_timer_callback);
	time_struct* task_3_time = (time_struct*) malloc(sizeof(time_struct));
	task_3_time -> period = task_3_period;
	task_3_time -> execution_time = task_3_execution_time;
	osMutexWait(task_3_time_queue_mutexHandle, osWaitForever);
	osMessagePut(task_3_time_queueHandle, (int)task_3_time, osWaitForever);
	osMutexRelease(task_3_time_queue_mutexHandle);
	task_3_timerHandle = osTimerCreate(osTimer(task_3_timer), osTimerPeriodic, (void*)task_3_time);
	task_3_timer_callback(NULL);

	osStatus status = osTimerStart(task_1_timerHandle, task_1_period);
	status = osTimerStart(task_2_timerHandle, task_2_period);
	status = osTimerStart(task_3_timerHandle, task_3_period);

	osThreadTerminate(task_generatorHandle);
  /* USER CODE END TaskGenerator */
}

void Monitor(void const * argument)
{
  /* USER CODE BEGIN Monitor */
	/* Infinite loop */
	for(;;){
		osDelay(1500);  // every hyper period

		printf("Current timestamp: %ldms\n", osKernelSysTick());

		DD_TASK_LIST* active_task_list = get_active_dd_task_list();
		int number_active_tasks = 0;
		if(active_task_list != NULL){
			number_active_tasks++;
			while(active_task_list->next != NULL){
				number_active_tasks++;
				active_task_list = active_task_list->next;
			}
		}

		printf("Number of active tasks: %d\n", number_active_tasks);

		DD_TASK_LIST* completed_task_list = get_completed_dd_task_list();
		int number_completed_tasks = 0;
		if(completed_task_list != NULL){
			number_completed_tasks++;
			while(completed_task_list->next != NULL){
				number_completed_tasks++;
				completed_task_list = completed_task_list->next;
			}
		}

		printf("Number of completed tasks: %d\n", number_completed_tasks);

		DD_TASK_LIST* overdue_task_list = get_overdue_dd_task_list();
		int number_overdue_tasks = 0;
		if(overdue_task_list != NULL){
			number_overdue_tasks++;
			while(overdue_task_list->next != NULL){
				number_overdue_tasks++;
				overdue_task_list = overdue_task_list->next;
			}
		}

		printf("Number of overdue tasks: %d\n", number_overdue_tasks);

		osThreadYield();
	}
  /* USER CODE END Monitor */
}

/* USER CODE BEGIN Header_RedLightTask */

int _write(int le, char *ptr, int len){
	int DataIdx;
	for(DataIdx = 0; DataIdx < len; DataIdx++){
		ITM_SendChar(*ptr++);
	}
	return len;
}

/* task_1_timer_callback function */
void task_1_timer_callback(void const * argument)
{
	/* USER CODE BEGIN task_1_timer_callback */
	static uint32_t count = 0;
	static time_struct* task_1_time = NULL;
	count++;
	if(task_1_time == NULL){
		osMutexWait(task_1_time_queue_mutexHandle, osWaitForever);
		osEvent event = osMessageGet(task_1_time_queueHandle, 0);
		task_1_time = (time_struct*)event.value.v;
		osMutexRelease(task_1_time_queue_mutexHandle);
	}
	uint32_t period = task_1_time -> period;
	uint32_t execution_time = task_1_time -> execution_time;
	osThreadDef(red_light_task, RedLightTask, osPriorityLow, 0, 128);
	red_light_taskHandle = 0;
	while(red_light_taskHandle == 0){
		red_light_taskHandle = osThreadCreate(osThread(red_light_task), NULL);
		if(red_light_taskHandle == 0){
			printf("Red returned 0, trying again\n");
		}
	}
	release_dd_task(red_light_taskHandle, PERIODIC, count, count * period, execution_time);
	/* USER CODE END task_1_timer_callback */
}

/* task_2_timer_callback function */
void task_2_timer_callback(void const * argument)
{
	/* USER CODE BEGIN task_2_timer_callback */
	static uint32_t count = 0;
	static time_struct* task_2_time = NULL;
	count++;
	if(task_2_time == NULL){
		osMutexWait(task_2_time_queue_mutexHandle, osWaitForever);
		osEvent event = osMessageGet(task_2_time_queueHandle, 0);
		task_2_time = (time_struct*)event.value.v;
		osMutexRelease(task_2_time_queue_mutexHandle);
	}
	uint32_t period = task_2_time -> period;
	uint32_t execution_time = task_2_time -> execution_time;
	osThreadDef(amber_light_tas, AmberLightTask, osPriorityLow, 0, 128);
	amber_light_tasHandle = 0;
	while(amber_light_tasHandle == 0){
		amber_light_tasHandle = osThreadCreate(osThread(amber_light_tas), NULL);
		if(amber_light_tasHandle == 0){
			printf("Amber returned 0, trying again\n");
		}
	}
	release_dd_task(amber_light_tasHandle, PERIODIC, count, count * period, execution_time);
	/* USER CODE END task_2_timer_callback */
}

/* task_3_timer_callback function */
void task_3_timer_callback(void const * argument)
{
	/* USER CODE BEGIN task_3_timer_callback */
	static uint32_t count = 0;
	static time_struct* task_3_time = NULL;
	count++;
	if(task_3_time == NULL){
		osMutexWait(task_3_time_queue_mutexHandle, osWaitForever);
		osEvent event = osMessageGet(task_3_time_queueHandle, 0);
		task_3_time = (time_struct*)event.value.v;
		osMutexRelease(task_3_time_queue_mutexHandle);
	}
	uint32_t period = task_3_time -> period;
	uint32_t execution_time = task_3_time -> execution_time;
	osThreadDef(green_light_tas, GreenLightTask, osPriorityLow, 0, 128);
	green_light_tasHandle = 0;
	while(green_light_tasHandle == 0){
		green_light_tasHandle = osThreadCreate(osThread(green_light_tas), NULL);
		if(green_light_tasHandle == 0){
			printf("Green returned 0, trying again!\n");
		}
	}
	release_dd_task(green_light_tasHandle, PERIODIC, count, count * period, execution_time);
	/* USER CODE END task_3_timer_callback */
}

/**
* @brief Function implementing the red_light_task thread.
* @param argument: Not used
* @retval None
*/
/* USER CODE END Header_RedLightTask */
void RedLightTask(void const * argument)
{
  /* USER CODE BEGIN RedLightTask */
	static int firstRun = 1;
	if(firstRun == 1){
		firstRun = 0;
		osThreadTerminate(osThreadGetId());
	}
	osMutexWait(task_duration_queue_mutexHandle, osWaitForever);
	osEvent event = osMessageGet(task_duration_queueHandle, osWaitForever);
	int time = event.value.v;
	osMutexRelease(task_duration_queue_mutexHandle);
	HAL_GPIO_WritePin(GPIOD, LD5_Pin, GPIO_PIN_SET);
	osDelay(time);
	HAL_GPIO_WritePin(GPIOD, LD5_Pin, GPIO_PIN_RESET);

	complete_dd_task(osThreadGetId());
	osThreadTerminate(osThreadGetId());
  /* USER CODE END RedLightTask */
}

void AmberLightTask(void const * argument)
{
  /* USER CODE BEGIN AmberLightTask */
	static int firstRun = 1;
	if(firstRun == 1){
		firstRun = 0;
		osThreadTerminate(osThreadGetId());
	}
	osMutexWait(task_duration_queue_mutexHandle, osWaitForever);
	osEvent event = osMessageGet(task_duration_queueHandle, osWaitForever);
	int time = event.value.v;
	osMutexRelease(task_duration_queue_mutexHandle);
	HAL_GPIO_WritePin(GPIOD, LD3_Pin, GPIO_PIN_SET);
	osDelay(time);
	HAL_GPIO_WritePin(GPIOD, LD3_Pin, GPIO_PIN_RESET);

	complete_dd_task(osThreadGetId());
	osThreadTerminate(osThreadGetId());
  /* USER CODE END AmberLightTask */
}

void GreenLightTask(void const * argument)
{
  /* USER CODE BEGIN GreenLightTask */
	static int firstRun = 1;
	if(firstRun == 1){
		firstRun = 0;
		osThreadTerminate(osThreadGetId());
	}
	osMutexWait(task_duration_queue_mutexHandle, osWaitForever);
	osEvent event = osMessageGet(task_duration_queueHandle, osWaitForever);
	int time = event.value.v;
	osMutexRelease(task_duration_queue_mutexHandle);
	HAL_GPIO_WritePin(GPIOD, LD4_Pin, GPIO_PIN_SET);
	osDelay(time);
	HAL_GPIO_WritePin(GPIOD, LD4_Pin, GPIO_PIN_RESET);

	complete_dd_task(osThreadGetId());
	osThreadTerminate(osThreadGetId());
  /* USER CODE END GreenLightTask */
}

/* dds_control_callback function */
void dds_control_callback(void const * argument)
{
}

void HAL_TIM_PeriodElapsedCallback(TIM_HandleTypeDef *htim)
{
  if (htim->Instance == TIM4) {
    HAL_IncTick();
  }
}

void Error_Handler(void)
{
  __disable_irq();
  while (1)
  {
  }
}

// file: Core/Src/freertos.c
/* USER CODE BEGIN Header */
/**
  ******************************************************************************
  * File Name          : freertos.c
  * Description        : Code for freertos applications
  ******************************************************************************
  * @attention
  *
  * Copyright (c) 2024 STMicroelectronics.
  * All rights reserved.
  *
  * This software is licensed under terms that can be found in the LICENSE file
  * in the root directory of this software component.
  * If no LICENSE file comes with this software, it is provided AS-IS.
  *
  ******************************************************************************
  */
/* USER CODE END Header */

#include "FreeRTOS.h"
#include "task.h"
#include "main.h"

/* GetIdleTaskMemory prototype (linked to static allocation support) */
void vApplicationGetIdleTaskMemory( StaticTask_t **ppxIdleTaskTCBBuffer, StackType_t **ppxIdleTaskStackBuffer, uint32_t *pulIdleTaskStackSize );

/* GetTimerTaskMemory prototype (linked to static allocation support) */
void vApplicationGetTimerTaskMemory( StaticTask_t **ppxTimerTaskTCBBuffer, StackType_t **ppxTimerTaskStackBuffer, uint32_t *pulTimerTaskStackSize );

/* Hook prototypes */
void vApplicationStackOverflowHook(xTaskHandle xTask, signed char *pcTaskName);

/* USER CODE BEGIN 4 */
__weak void vApplicationStackOverflowHook(xTaskHandle xTask, signed char *pcTaskName)
{
   /* Run time stack overflow checking is performed if
   configCHECK_FOR_STACK_OVERFLOW is defined to 1 or 2. This hook function is
   called if a stack overflow is detected. */
}
/* USER CODE END 4 */

/* USER CODE BEGIN GET_IDLE_TASK_MEMORY */
static StaticTask_t xIdleTaskTCBBuffer;
static StackType_t xIdleStack[configMINIMAL_STACK_SIZE];

void vApplicationGetIdleTaskMemory( StaticTask_t **ppxIdleTaskTCBBuffer, StackType_t **ppxIdleTaskStackBuffer, uint32_t *pulIdleTaskStackSize )
{
  *ppxIdleTaskTCBBuffer = &xIdleTaskTCBBuffer;
  *ppxIdleTaskStackBuffer = &xIdleStack[0];
  *pulIdleTaskStackSize = configMINIMAL_STACK_SIZE;
  /* place for user code */
}
/* USER CODE END GET_IDLE_TASK_MEMORY */

/* USER CODE BEGIN GET_TIMER_TASK_MEMORY */
static StaticTask_t xTimerTaskTCBBuffer;
static StackType_t xTimerStack[configTIMER_TASK_STACK_DEPTH];

void vApplicationGetTimerTaskMemory( StaticTask_t **ppxTimerTaskTCBBuffer, StackType_t **ppxTimerTaskStackBuffer, uint32_t *pulTimerTaskStackSize )
{
  *ppxTimerTaskTCBBuffer = &xTimerTaskTCBBuffer;
  *ppxTimerTaskStackBuffer = &xTimerStack[0];
  *pulTimerTaskStackSize = configTIMER_TASK_STACK_DEPTH;
  /* place for user code */
}
/* USER CODE END GET_TIMER_TASK_MEMORY */
